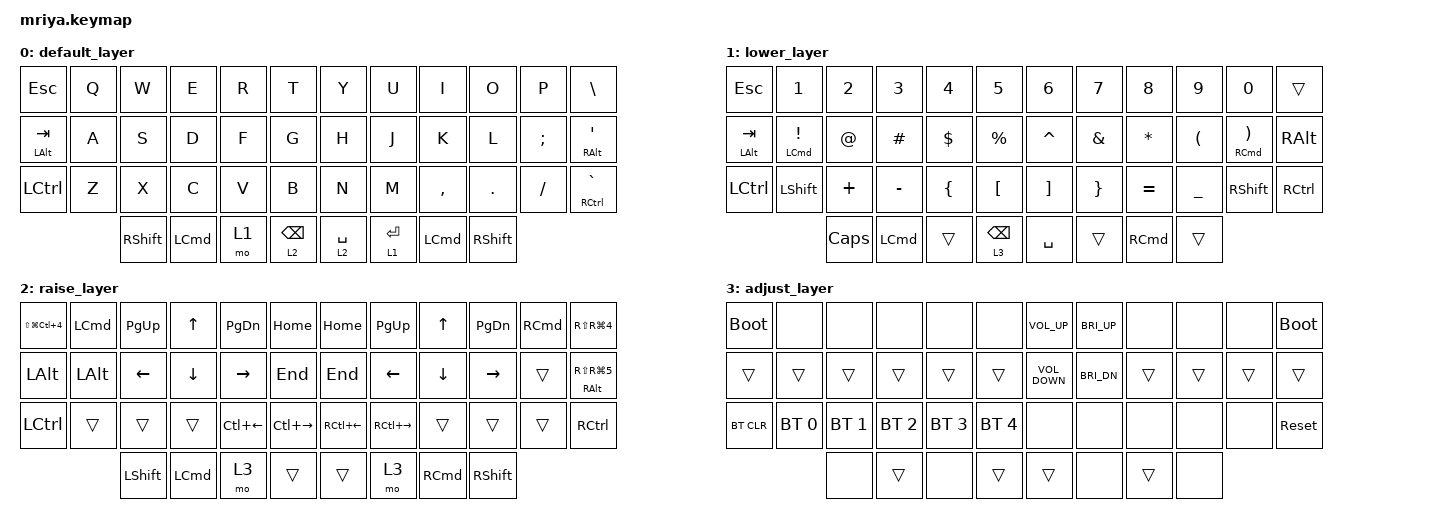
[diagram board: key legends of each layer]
/*
 * Copyright (c) 2023 Andrei Gaevskii
 *
 * SPDX-License-Identifier: MIT
 */

#include <behaviors.dtsi>
#include <dt-bindings/zmk/bt.h>
#include <dt-bindings/zmk/keys.h>

#define DEF 0
#define LWR 1
#define RSE 2
#define ADJ 3

/ {
    keymap {
        compatible = "zmk,keymap";

        default_layer {
            bindings = <
  &kp ESCAPE        &kp Q  &kp W            &kp E             &kp R  &kp T              &kp Y        &kp U        &kp I             &kp O            &kp P     &kp BACKSLASH
  &mt LEFT_ALT TAB  &kp A  &kp S            &kp D             &kp F  &kp G              &kp H        &kp J        &kp K             &kp L            &kp SEMI  &mt RIGHT_ALT SQT
  &kp LEFT_CONTROL  &kp Z  &kp X            &kp C             &kp V  &kp B              &kp N        &kp M        &kp COMMA         &kp DOT          &kp FSLH  &mt RIGHT_CONTROL GRAVE
                           &kp RIGHT_SHIFT  &kp LEFT_COMMAND  &mo 1  &lt 2 BACKSPACE    &lt 2 SPACE  &lt 1 ENTER  &kp LEFT_COMMAND  &kp RIGHT_SHIFT
            >;
        };

        lower_layer {
            bindings = <
  &kp ESCAPE        &kp NUMBER_1                  &kp NUMBER_2  &kp NUMBER_3      &kp NUMBER_4    &kp NUMBER_5        &kp NUMBER_6       &kp N7           &kp N8             &kp N9     &kp N0                               &trans
  &mt LEFT_ALT TAB  &mt LEFT_COMMAND EXCLAMATION  &kp AT        &kp HASH          &kp DLLR        &kp PRCNT           &kp CARET          &kp AMPS         &kp STAR           &kp LPAR   &mt RIGHT_COMMAND RIGHT_PARENTHESIS  &kp RIGHT_ALT
  &kp LEFT_CONTROL  &kp LEFT_SHIFT                &kp PLUS      &kp MINUS         &kp LEFT_BRACE  &kp LEFT_BRACKET    &kp RIGHT_BRACKET  &kp RIGHT_BRACE  &kp EQUAL          &kp UNDER  &kp RIGHT_SHIFT                      &kp RIGHT_CONTROL
                                                  &kp CAPSLOCK  &kp LEFT_COMMAND  &trans          &lt 3 BACKSPACE     &kp SPACE          &trans           &kp RIGHT_COMMAND  &trans
            >;
        };

        raise_layer {
            bindings = <
  &kp LS(LG(LC(NUMBER_4)))  &kp LEFT_COMMAND  &kp PG_UP       &kp UP_ARROW      &kp PAGE_DOWN       &kp HOME               &kp HOME            &kp PG_UP            &kp UP_ARROW       &kp PAGE_DOWN    &kp RIGHT_COMMAND  &kp RS(RG(NUMBER_4))
  &kp LEFT_ALT              &kp LEFT_ALT      &kp LEFT_ARROW  &kp DOWN_ARROW    &kp RIGHT_ARROW     &kp END                &kp END             &kp LEFT             &kp DOWN_ARROW     &kp RIGHT        &trans             &mt RIGHT_ALT RS(RG(N5))
  &kp LEFT_CONTROL          &trans            &trans          &trans            &kp LC(LEFT_ARROW)  &kp LC(RIGHT_ARROW)    &kp RC(LEFT_ARROW)  &kp RC(RIGHT_ARROW)  &trans             &trans           &trans             &kp RIGHT_CONTROL
                                              &kp LEFT_SHIFT  &kp LEFT_COMMAND  &mo 3               &trans                 &trans              &mo 3                &kp RIGHT_COMMAND  &kp RIGHT_SHIFT
            >;
        };

        adjust_layer {
            bindings = <
  &bootloader  &none         &none         &none         &none         &none           &kp C_VOLUME_UP    &kp C_BRI_UP  &none   &none   &none   &bootloader
  &trans       &trans        &trans        &trans        &trans        &trans          &kp C_VOLUME_DOWN  &kp C_BRI_DN  &trans  &trans  &trans  &trans
  &bt BT_CLR   &bt BT_SEL 0  &bt BT_SEL 1  &bt BT_SEL 2  &bt BT_SEL 3  &bt BT_SEL 4    &none              &none         &none   &none   &none   &sys_reset
                             &none         &trans        &none         &trans          &trans             &none         &trans  &none
            >;
        };
    };
};
